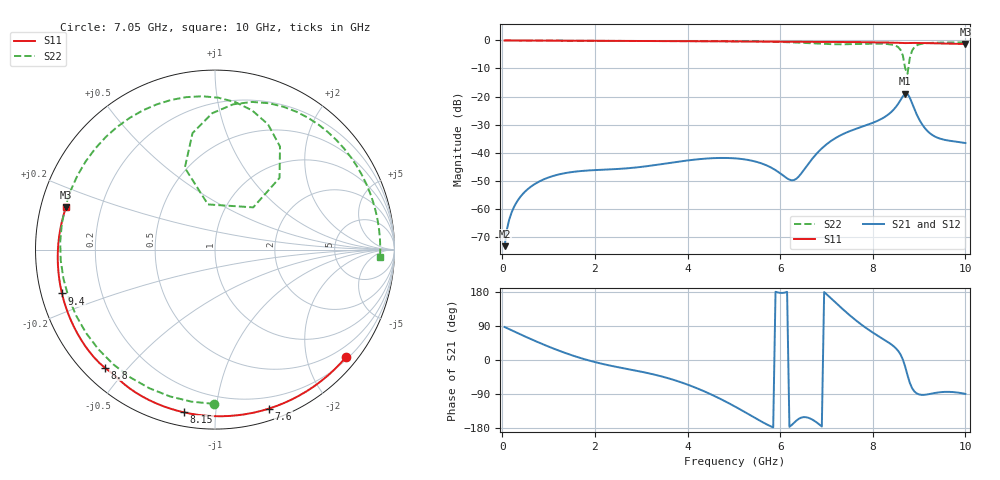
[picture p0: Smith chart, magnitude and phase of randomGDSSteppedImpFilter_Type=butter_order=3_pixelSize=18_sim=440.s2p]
! freq	dB(S11)	phase(S11)	dB(S12)	phase(S12)
!  dB(S21)	phase(S21)	dB(S22)	phase(S22)
!S-par simulation data
#  GHz  S  DB  R 50
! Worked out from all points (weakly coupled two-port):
!   200 points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, 50 MHz to 10 GHz, reference 50 ohm
!   highest |S21| = -18.96 dB at 8.7 GHz (marker M1); lowest = -73.4 dB at 50 MHz (marker M2)
!   lowest |S11| = -1.3 dB at 10 GHz (marker M3), VSWR 13.61, Z = 3.75 + j6.99 ohm
!   |S11| at or under -10 dB: nowhere
!   |S22| runs from -11.9 to 0.0 dB; largest |S21 - S12| = 0
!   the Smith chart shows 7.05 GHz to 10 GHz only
!   S11 on the Smith chart (normalised r, x): 7.05 GHz: 0.25, -2.78; 7.6 GHz: 0.10, -1.39; 8.15 GHz: 0.07, -0.82; 8.8 GHz: 0.06, -0.43; 9.4 GHz: 0.06, -0.14; 10 GHz: 0.07, +0.14
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0.05  -0.00 -2.7  -73.37 87.0  -73.37 87.0  -0.00 -3.2
0.2  -0.01 -10.5  -61.39 78.4  -61.39 78.4  -0.02 -12.5
0.5  -0.03 -26.2  -53.78 61.6  -53.78 61.6  -0.04 -30.9
1.75  -0.11 -89.4  -46.50 2.9  -46.50 2.9  -0.11 -100.0
2.5  -0.15 -126.0  -45.83 -19.0  -45.83 -19.0  -0.14 -134.7
3.4  -0.21 -170.7  -44.21 -42.0  -44.21 -42.0  -0.17 -172.6
4.2  -0.27 146.1  -42.42 -74.4  -42.42 -74.4  -0.22 153.8
5.05  -0.34 94.0  -42.08 -124.5  -42.08 -124.5  -0.30 113.0
5.9  -0.40 36.4  -46.25 180.0  -46.25 180.0  -0.50 56.6
6.3  -0.43 9.1  -49.79 -165.7  -49.79 -165.7  -0.72 17.8
6.7  -0.46 -17.3  -42.05 -157.7  -42.05 -157.7  -1.05 -34.4
7.05  -0.50 -39.3  -36.42 168.2  -36.42 168.2  -1.32 -90.5
7.6  -0.58 -71.3  -31.74 108.1  -31.74 108.1  -1.29 -176.2
8.15  -0.70 -100.9  -28.29 60.8  -28.29 60.8  -1.17 117.4
8.35  -0.75 -111.2  -26.21 45.4  -26.21 45.4  -1.34 94.8
8.6  -0.87 -123.9  -21.26 14.5  -21.26 14.5  -3.36 57.8
8.7  -0.94 -128.6  -18.96 -17.6  -18.96 -17.6  -9.96 47.8
8.75  -0.94 -130.8  -19.07 -40.1  -19.07 -40.1  -11.88 98.9
8.8  -0.91 -133.1  -20.45 -60.4  -20.45 -60.4  -6.27 110.2
9  -0.91 -143.4  -28.09 -90.9  -28.09 -90.9  -1.43 75.9
9.4  -1.04 -164.0  -34.71 -85.9  -34.71 -85.9  -0.79 38.2
10  -1.28 164.0  -36.60 -89.4  -36.60 -89.4  -0.72 -2.6
